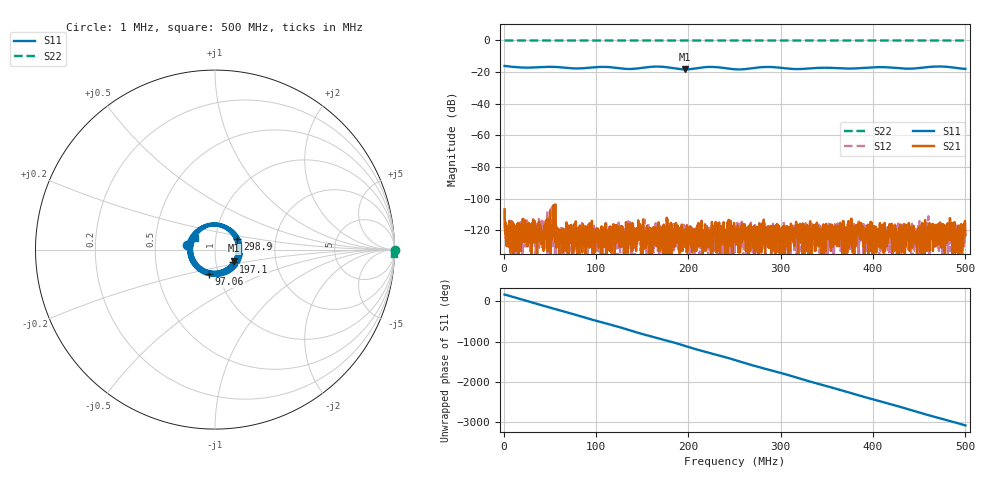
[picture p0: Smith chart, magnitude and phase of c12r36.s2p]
! MS46122B
! 1746301/73750021
! 11/3/2023 2:25:42 PM
! C:\USERS\SPEGWAL\DOWNLOADS\SAURABH\REACH\NODES\FRONT END\MEASUREMENTS\MEASURED S-PARAMETERS_03-11-2023\MS3-MS4_MS1_CABLE\36OHMS_SOURCE_S11.S2P
! CHANNEL.1
! TR.MEASUREMENT
! CORRECTED.DATA
# GHZ S RI R 50.0
! FREQ.GHZ  S11RE  S11IM  S21RE  S21IM  S12RE  S12IM  S22RE  S22IM
!; PortSelection: Port_12
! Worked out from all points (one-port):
!   2001 points, 1 MHz to 500 MHz, reference 50 ohm
!   lowest |S11| = -18.3 dB at 196.6 MHz (marker M1), VSWR 1.28, Z = 61.2 - j7.68 ohm
!   |S11| at or under -10 dB: start of sweep to end of sweep
!   S11 on the Smith chart (normalised r, x): 1 MHz: 0.73, +0.04; 97.06 MHz: 0.90, -0.25; 197.1 MHz: 1.21, -0.17; 298.9 MHz: 1.27, +0.16; 500 MHz: 0.80, +0.10
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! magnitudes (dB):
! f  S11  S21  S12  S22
! 1 MHz  -16.1  -106.8  -108.0  0.0
! 21.71 MHz  -17.1  -124.7  -118.4  0.0
! 50.4 MHz  -16.6  -120.7  -118.4  0.0
! 84.33 MHz  -17.6  -122.1  -121.9  0.0
! 97.06 MHz  -17.0  -128.0  -120.0  0.0
! 111.5 MHz  -16.7  -123.0  -125.4  0.0
! 136.7 MHz  -18.0  -123.5  -131.0  0.0
! 167.4 MHz  -16.5  -130.5  -124.9  0.0
! 196.6 MHz  -18.3  -119.5  -120.5  0.0
! 197.1 MHz  -18.3  -130.0  -128.9  0.0
! 223.8 MHz  -16.7  -121.9  -128.9  0.0
! 250.5 MHz  -18.2  -127.0  -124.0  0.0
! 282.9 MHz  -16.7  -124.3  -115.8  0.0
! 298.9 MHz  -17.2  -128.9  -124.9  0.0
! 316.1 MHz  -18.1  -124.7  -116.9  0.0
! 333.8 MHz  -17.5  -120.0  -124.0  0.0
! 348.8 MHz  -17.2  -116.9  -128.9  0.0
! 375.2 MHz  -17.8  -128.9  -123.0  0.0
! 416.9 MHz  -17.0  -124.0  -133.0  0.0
! 439.6 MHz  -17.8  -133.0  -127.7  0.0
! 473.3 MHz  -16.4  -122.8  -123.0  0.0
! 500 MHz  -17.9  -123.0  -123.5  0.0
